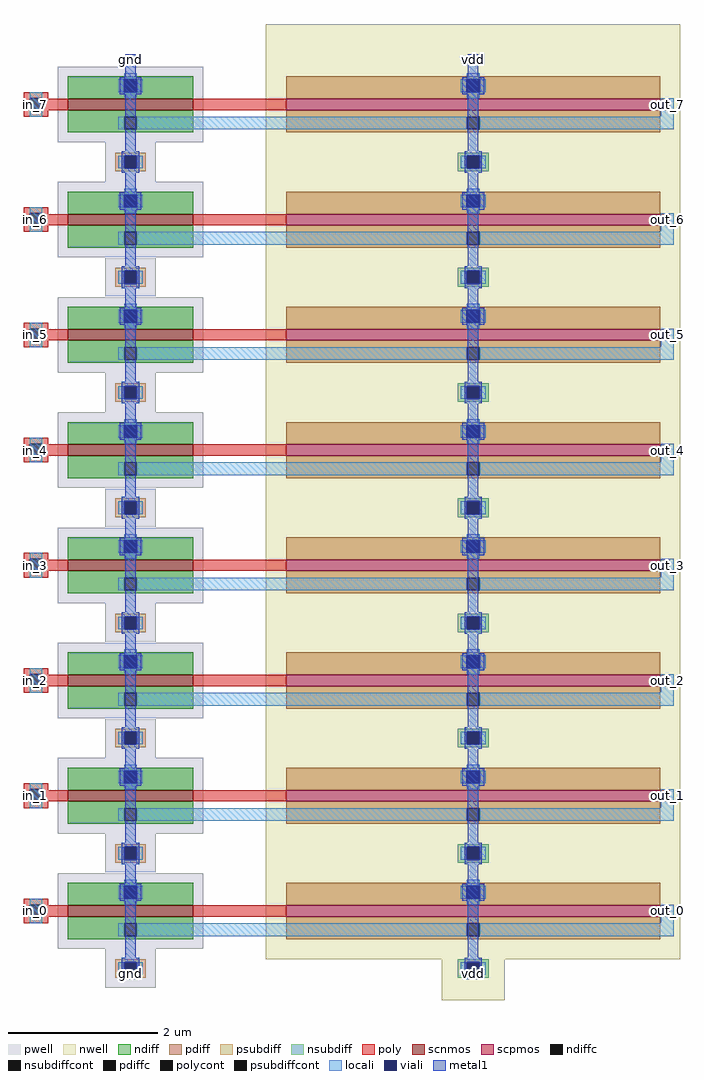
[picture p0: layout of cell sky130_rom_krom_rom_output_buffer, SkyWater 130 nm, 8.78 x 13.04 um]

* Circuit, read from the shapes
.subckt sky130_rom_krom_rom_output_buffer in_0 out_0 in_1 out_1 in_2 out_2 in_3 out_3 in_4 out_4 in_5 out_5 in_6 out_6 in_7 out_7 gnd vdd
XM1 gnd in_0 out_0 gnd sky130_fd_pr__nfet_01v8 w=1.68 l=0.15
XM2 gnd in_1 out_1 gnd sky130_fd_pr__nfet_01v8 w=1.68 l=0.15
XM3 gnd in_2 out_2 gnd sky130_fd_pr__nfet_01v8 w=1.68 l=0.15
XM4 gnd in_3 out_3 gnd sky130_fd_pr__nfet_01v8 w=1.68 l=0.15
XM5 gnd in_4 out_4 gnd sky130_fd_pr__nfet_01v8 w=1.68 l=0.15
XM6 gnd in_5 out_5 gnd sky130_fd_pr__nfet_01v8 w=1.68 l=0.15
XM7 gnd in_6 out_6 gnd sky130_fd_pr__nfet_01v8 w=1.68 l=0.15
XM8 gnd in_7 out_7 gnd sky130_fd_pr__nfet_01v8 w=1.68 l=0.15
XM9 vdd in_0 out_0 vdd sky130_fd_pr__pfet_01v8 w=5 l=0.15
XM10 vdd in_1 out_1 vdd sky130_fd_pr__pfet_01v8 w=5 l=0.15
XM11 vdd in_2 out_2 vdd sky130_fd_pr__pfet_01v8 w=5 l=0.15
XM12 vdd in_3 out_3 vdd sky130_fd_pr__pfet_01v8 w=5 l=0.15
XM13 vdd in_4 out_4 vdd sky130_fd_pr__pfet_01v8 w=5 l=0.15
XM14 vdd in_5 out_5 vdd sky130_fd_pr__pfet_01v8 w=5 l=0.15
XM15 vdd in_6 out_6 vdd sky130_fd_pr__pfet_01v8 w=5 l=0.15
XM16 vdd in_7 out_7 vdd sky130_fd_pr__pfet_01v8 w=5 l=0.15
.ends

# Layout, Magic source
magic
tech sky130A
magscale 1 2
<< nwell >>
rect 1162 2106 1330 2274
rect 1162 1798 1330 1966
rect 1162 1490 1330 1658
rect 1162 1182 1330 1350
rect 1162 874 1330 1042
rect 1162 566 1330 734
rect 1162 258 1330 426
rect 1162 -50 1330 118
<< pwell >>
rect 263 2139 397 2241
rect 263 1831 397 1933
rect 263 1523 397 1625
rect 263 1215 397 1317
rect 263 907 397 1009
rect 263 599 397 701
rect 263 291 397 393
rect 263 -17 397 85
<< psubdiff >>
rect 289 2207 371 2215
rect 289 2173 313 2207
rect 347 2173 371 2207
rect 289 2165 371 2173
rect 289 1899 371 1907
rect 289 1865 313 1899
rect 347 1865 371 1899
rect 289 1857 371 1865
rect 289 1591 371 1599
rect 289 1557 313 1591
rect 347 1557 371 1591
rect 289 1549 371 1557
rect 289 1283 371 1291
rect 289 1249 313 1283
rect 347 1249 371 1283
rect 289 1241 371 1249
rect 289 975 371 983
rect 289 941 313 975
rect 347 941 371 975
rect 289 933 371 941
rect 289 667 371 675
rect 289 633 313 667
rect 347 633 371 667
rect 289 625 371 633
rect 289 359 371 367
rect 289 325 313 359
rect 347 325 371 359
rect 289 317 371 325
rect 289 51 371 59
rect 289 17 313 51
rect 347 17 371 51
rect 289 9 371 17
<< nsubdiff >>
rect 1205 2207 1287 2215
rect 1205 2173 1229 2207
rect 1263 2173 1287 2207
rect 1205 2165 1287 2173
rect 1205 1899 1287 1907
rect 1205 1865 1229 1899
rect 1263 1865 1287 1899
rect 1205 1857 1287 1865
rect 1205 1591 1287 1599
rect 1205 1557 1229 1591
rect 1263 1557 1287 1591
rect 1205 1549 1287 1557
rect 1205 1283 1287 1291
rect 1205 1249 1229 1283
rect 1263 1249 1287 1283
rect 1205 1241 1287 1249
rect 1205 975 1287 983
rect 1205 941 1229 975
rect 1263 941 1287 975
rect 1205 933 1287 941
rect 1205 667 1287 675
rect 1205 633 1229 667
rect 1263 633 1287 667
rect 1205 625 1287 633
rect 1205 359 1287 367
rect 1205 325 1229 359
rect 1263 325 1287 359
rect 1205 317 1287 325
rect 1205 51 1287 59
rect 1205 17 1229 51
rect 1263 17 1287 51
rect 1205 9 1287 17
<< psubdiffcont >>
rect 313 2173 347 2207
rect 313 1865 347 1899
rect 313 1557 347 1591
rect 313 1249 347 1283
rect 313 941 347 975
rect 313 633 347 667
rect 313 325 347 359
rect 313 17 347 51
<< nsubdiffcont >>
rect 1229 2173 1263 2207
rect 1229 1865 1263 1899
rect 1229 1557 1263 1591
rect 1229 1249 1263 1283
rect 1229 941 1263 975
rect 1229 633 1263 667
rect 1229 325 1263 359
rect 1229 17 1263 51
<< locali >>
rect 60 2311 94 2377
rect 1748 2294 1782 2361
rect 297 2173 313 2207
rect 347 2173 363 2207
rect 1213 2173 1229 2207
rect 1263 2173 1279 2207
rect 60 2003 94 2069
rect 1748 1986 1782 2053
rect 297 1865 313 1899
rect 347 1865 363 1899
rect 1213 1865 1229 1899
rect 1263 1865 1279 1899
rect 60 1695 94 1761
rect 1748 1678 1782 1745
rect 297 1557 313 1591
rect 347 1557 363 1591
rect 1213 1557 1229 1591
rect 1263 1557 1279 1591
rect 60 1387 94 1453
rect 1748 1370 1782 1437
rect 297 1249 313 1283
rect 347 1249 363 1283
rect 1213 1249 1229 1283
rect 1263 1249 1279 1283
rect 60 1079 94 1145
rect 1748 1062 1782 1129
rect 297 941 313 975
rect 347 941 363 975
rect 1213 941 1229 975
rect 1263 941 1279 975
rect 60 771 94 837
rect 1748 754 1782 821
rect 297 633 313 667
rect 347 633 363 667
rect 1213 633 1229 667
rect 1263 633 1279 667
rect 60 463 94 529
rect 1748 446 1782 513
rect 297 325 313 359
rect 347 325 363 359
rect 1213 325 1229 359
rect 1263 325 1279 359
rect 60 155 94 221
rect 1748 138 1782 205
rect 297 17 313 51
rect 347 17 363 51
rect 1213 17 1229 51
rect 1263 17 1279 51
<< viali >>
rect 313 2173 347 2207
rect 1229 2173 1263 2207
rect 313 1865 347 1899
rect 1229 1865 1263 1899
rect 313 1557 347 1591
rect 1229 1557 1263 1591
rect 313 1249 347 1283
rect 1229 1249 1263 1283
rect 313 941 347 975
rect 1229 941 1263 975
rect 313 633 347 667
rect 1229 633 1263 667
rect 313 325 347 359
rect 1229 325 1263 359
rect 313 17 347 51
rect 1229 17 1263 51
<< metal1 >>
rect 316 2219 344 2478
rect 1232 2219 1260 2478
rect 307 2207 353 2219
rect 307 2173 313 2207
rect 347 2173 353 2207
rect 307 2161 353 2173
rect 1223 2207 1269 2219
rect 1223 2173 1229 2207
rect 1263 2173 1269 2207
rect 1223 2161 1269 2173
rect 316 1911 344 2161
rect 1232 1911 1260 2161
rect 307 1899 353 1911
rect 307 1865 313 1899
rect 347 1865 353 1899
rect 307 1853 353 1865
rect 1223 1899 1269 1911
rect 1223 1865 1229 1899
rect 1263 1865 1269 1899
rect 1223 1853 1269 1865
rect 316 1603 344 1853
rect 1232 1603 1260 1853
rect 307 1591 353 1603
rect 307 1557 313 1591
rect 347 1557 353 1591
rect 307 1545 353 1557
rect 1223 1591 1269 1603
rect 1223 1557 1229 1591
rect 1263 1557 1269 1591
rect 1223 1545 1269 1557
rect 316 1295 344 1545
rect 1232 1295 1260 1545
rect 307 1283 353 1295
rect 307 1249 313 1283
rect 347 1249 353 1283
rect 307 1237 353 1249
rect 1223 1283 1269 1295
rect 1223 1249 1229 1283
rect 1263 1249 1269 1283
rect 1223 1237 1269 1249
rect 316 987 344 1237
rect 1232 987 1260 1237
rect 307 975 353 987
rect 307 941 313 975
rect 347 941 353 975
rect 307 929 353 941
rect 1223 975 1269 987
rect 1223 941 1229 975
rect 1263 941 1269 975
rect 1223 929 1269 941
rect 316 679 344 929
rect 1232 679 1260 929
rect 307 667 353 679
rect 307 633 313 667
rect 347 633 353 667
rect 307 621 353 633
rect 1223 667 1269 679
rect 1223 633 1229 667
rect 1263 633 1269 667
rect 1223 621 1269 633
rect 316 371 344 621
rect 1232 371 1260 621
rect 307 359 353 371
rect 307 325 313 359
rect 347 325 353 359
rect 307 313 353 325
rect 1223 359 1269 371
rect 1223 325 1229 359
rect 1263 325 1269 359
rect 1223 313 1269 325
rect 316 63 344 313
rect 1232 63 1260 313
rect 307 51 353 63
rect 307 17 313 51
rect 347 17 353 51
rect 307 5 353 17
rect 1223 51 1269 63
rect 1223 17 1229 51
rect 1263 17 1269 51
rect 1223 5 1269 17
use sky130_rom_krom_pinv_dec_4  sky130_rom_krom_pinv_dec_4_0
transform 1 0 0 0 1 2260
box 44 -50 1800 299
use sky130_rom_krom_pinv_dec_4  sky130_rom_krom_pinv_dec_4_1
transform 1 0 0 0 1 1952
box 44 -50 1800 299
use sky130_rom_krom_pinv_dec_4  sky130_rom_krom_pinv_dec_4_2
transform 1 0 0 0 1 1644
box 44 -50 1800 299
use sky130_rom_krom_pinv_dec_4  sky130_rom_krom_pinv_dec_4_3
transform 1 0 0 0 1 1336
box 44 -50 1800 299
use sky130_rom_krom_pinv_dec_4  sky130_rom_krom_pinv_dec_4_4
transform 1 0 0 0 1 1028
box 44 -50 1800 299
use sky130_rom_krom_pinv_dec_4  sky130_rom_krom_pinv_dec_4_5
transform 1 0 0 0 1 720
box 44 -50 1800 299
use sky130_rom_krom_pinv_dec_4  sky130_rom_krom_pinv_dec_4_6
transform 1 0 0 0 1 412
box 44 -50 1800 299
use sky130_rom_krom_pinv_dec_4  sky130_rom_krom_pinv_dec_4_7
transform 1 0 0 0 1 104
box 44 -50 1800 299
<< labels >>
rlabel locali s 77 188 77 188 4 in_0
port 2 nsew
rlabel locali s 1765 188 1765 188 4 out_0
port 3 nsew
rlabel locali s 77 496 77 496 4 in_1
port 4 nsew
rlabel locali s 1765 496 1765 496 4 out_1
port 5 nsew
rlabel locali s 77 804 77 804 4 in_2
port 6 nsew
rlabel locali s 1765 804 1765 804 4 out_2
port 7 nsew
rlabel locali s 77 1112 77 1112 4 in_3
port 8 nsew
rlabel locali s 1765 1112 1765 1112 4 out_3
port 9 nsew
rlabel locali s 77 1420 77 1420 4 in_4
port 10 nsew
rlabel locali s 1765 1420 1765 1420 4 out_4
port 11 nsew
rlabel locali s 77 1728 77 1728 4 in_5
port 12 nsew
rlabel locali s 1765 1728 1765 1728 4 out_5
port 13 nsew
rlabel locali s 77 2036 77 2036 4 in_6
port 14 nsew
rlabel locali s 1765 2036 1765 2036 4 out_6
port 15 nsew
rlabel locali s 77 2344 77 2344 4 in_7
port 16 nsew
rlabel locali s 1765 2344 1765 2344 4 out_7
port 17 nsew
rlabel metal1 s 316 6 344 34 4 gnd
port 19 nsew
rlabel metal1 s 316 2450 344 2478 4 gnd
port 19 nsew
rlabel metal1 s 1232 2450 1260 2478 4 vdd
port 21 nsew
rlabel metal1 s 1232 6 1260 34 4 vdd
port 21 nsew
<< properties >>
string FIXED_BBOX 1162 -50 1330 0
<< end >>

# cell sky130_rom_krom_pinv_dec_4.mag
magic
tech sky130A
magscale 1 2
<< nwell >>
rect 692 -45 1800 299
rect 1162 -50 1330 -45
<< pwell >>
rect 136 -17 524 185
<< scnmos >>
rect 162 69 498 99
<< scpmos >>
rect 746 69 1746 99
<< ndiff >>
rect 162 151 498 159
rect 162 117 313 151
rect 347 117 498 151
rect 162 99 498 117
rect 162 51 498 69
rect 162 17 313 51
rect 347 17 498 51
rect 162 9 498 17
<< pdiff >>
rect 746 151 1746 159
rect 746 117 1229 151
rect 1263 117 1746 151
rect 746 99 1746 117
rect 746 51 1746 69
rect 746 17 1229 51
rect 1263 17 1746 51
rect 746 9 1746 17
<< ndiffc >>
rect 313 117 347 151
rect 313 17 347 51
<< pdiffc >>
rect 1229 117 1263 151
rect 1229 17 1263 51
<< poly >>
rect 44 101 110 117
rect 44 67 60 101
rect 94 99 110 101
rect 94 69 162 99
rect 498 69 746 99
rect 1746 69 1772 99
rect 94 67 110 69
rect 44 51 110 67
<< polycont >>
rect 60 67 94 101
<< locali >>
rect 313 151 347 167
rect 1229 151 1263 167
rect 297 117 313 151
rect 347 117 363 151
rect 1213 117 1229 151
rect 1263 117 1279 151
rect 60 101 94 117
rect 313 101 347 117
rect 1229 101 1263 117
rect 60 51 94 67
rect 297 17 313 51
rect 347 17 1229 51
rect 1263 17 1782 51
<< viali >>
rect 313 117 347 151
rect 1229 117 1263 151
<< metal1 >>
rect 316 157 344 204
rect 1232 157 1260 204
rect 301 151 359 157
rect 301 117 313 151
rect 347 117 359 151
rect 301 111 359 117
rect 1217 151 1275 157
rect 1217 117 1229 151
rect 1263 117 1275 151
rect 1217 111 1275 117
rect 316 0 344 111
rect 1232 0 1260 111
<< labels >>
rlabel locali s 77 84 77 84 4 A
port 2 nsew
rlabel locali s 1039 34 1039 34 4 Z
port 3 nsew
rlabel metal1 s 316 0 344 204 4 gnd
port 5 nsew
rlabel metal1 s 1232 0 1260 204 4 vdd
port 7 nsew
<< properties >>
string FIXED_BBOX 1162 -50 1330 -45
<< end >>
